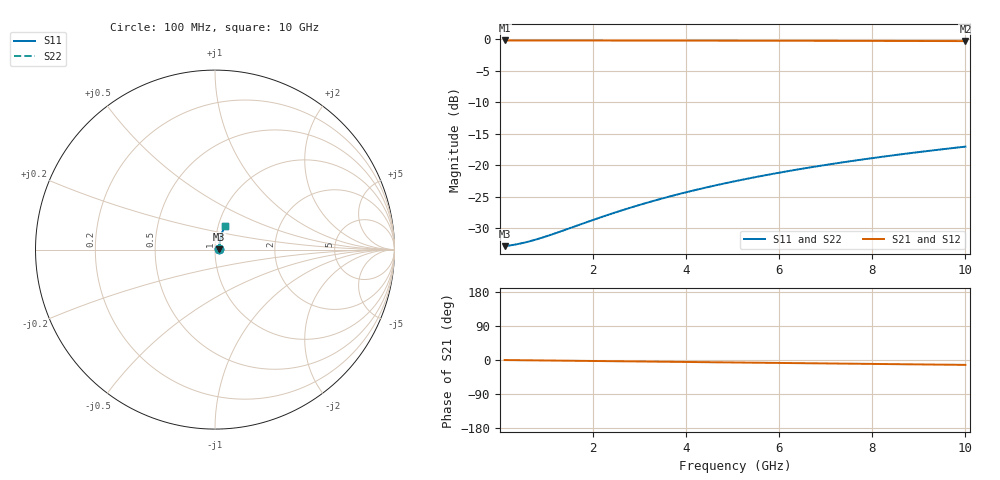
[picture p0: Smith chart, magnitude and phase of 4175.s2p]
# Hz S RI R 50.00
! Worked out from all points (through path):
!   100 points, 100 MHz to 10 GHz, reference 50 ohm
!   highest |S21| = -0.20 dB at 100 MHz (marker M1); lowest = -0.3 dB at 10 GHz (marker M2)
!   group delay of S21, straight-line fit = 3.58 ps
!   lowest |S11| = -32.9 dB at 100 MHz (marker M3), VSWR 1.05, Z = 52.3 + j0.142 ohm
!   |S11| at or under -10 dB: start of sweep to end of sweep
!   |S22| runs from -32.9 to -17.1 dB; largest |S21 - S12| = 0
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1e8  0.0227 0.00135  0.9773 -0.00221  0.9773 -0.00221  0.0227 0.00135
3e8  0.023 0.00405  0.977 -0.00664  0.977 -0.00664  0.023 0.00405
4e8  0.0231 0.0054  0.9769 -0.00885  0.9769 -0.00885  0.0231 0.0054
6e8  0.0233 0.0081  0.9767 -0.0133  0.9767 -0.0133  0.0233 0.0081
8e8  0.0235 0.0108  0.9765 -0.0177  0.9765 -0.0177  0.0235 0.0108
1.2e9  0.0239 0.0162  0.9761 -0.0265  0.9761 -0.0265  0.0239 0.0162
1.8e9  0.0246 0.0242  0.9752 -0.0398  0.9752 -0.0398  0.0246 0.0242
2.2e9  0.0252 0.0296  0.9746 -0.0486  0.9746 -0.0486  0.0252 0.0296
2.6e9  0.0259 0.035  0.9738 -0.0574  0.9738 -0.0574  0.0259 0.035
3e9  0.0267 0.0403  0.973 -0.0662  0.973 -0.0662  0.0267 0.0403
3.4e9  0.0275 0.0456  0.972 -0.0749  0.972 -0.0749  0.0275 0.0456
3.8e9  0.0285 0.0509  0.971 -0.0837  0.971 -0.0837  0.0285 0.0509
4.2e9  0.0295 0.0562  0.9698 -0.0924  0.9698 -0.0924  0.0295 0.0562
4.6e9  0.0306 0.0614  0.9685 -0.1011  0.9685 -0.1011  0.0306 0.0614
5.1e9  0.0322 0.068  0.9668 -0.112  0.9668 -0.112  0.0322 0.068
5.5e9  0.0335 0.0731  0.9653 -0.1206  0.9653 -0.1206  0.0335 0.0731
5.9e9  0.0349 0.0783  0.9637 -0.1292  0.9637 -0.1292  0.0349 0.0783
6.7e9  0.038 0.0885  0.9602 -0.1464  0.9602 -0.1464  0.038 0.0885
7.5e9  0.0415 0.0986  0.9563 -0.1634  0.9563 -0.1634  0.0415 0.0986
8.4e9  0.0458 0.1098  0.9514 -0.1823  0.9514 -0.1823  0.0458 0.1098
9.2e9  0.05 0.1196  0.9467 -0.199  0.9467 -0.199  0.05 0.1196
1e10  0.0546 0.1291  0.9416 -0.2155  0.9416 -0.2155  0.0546 0.1291
